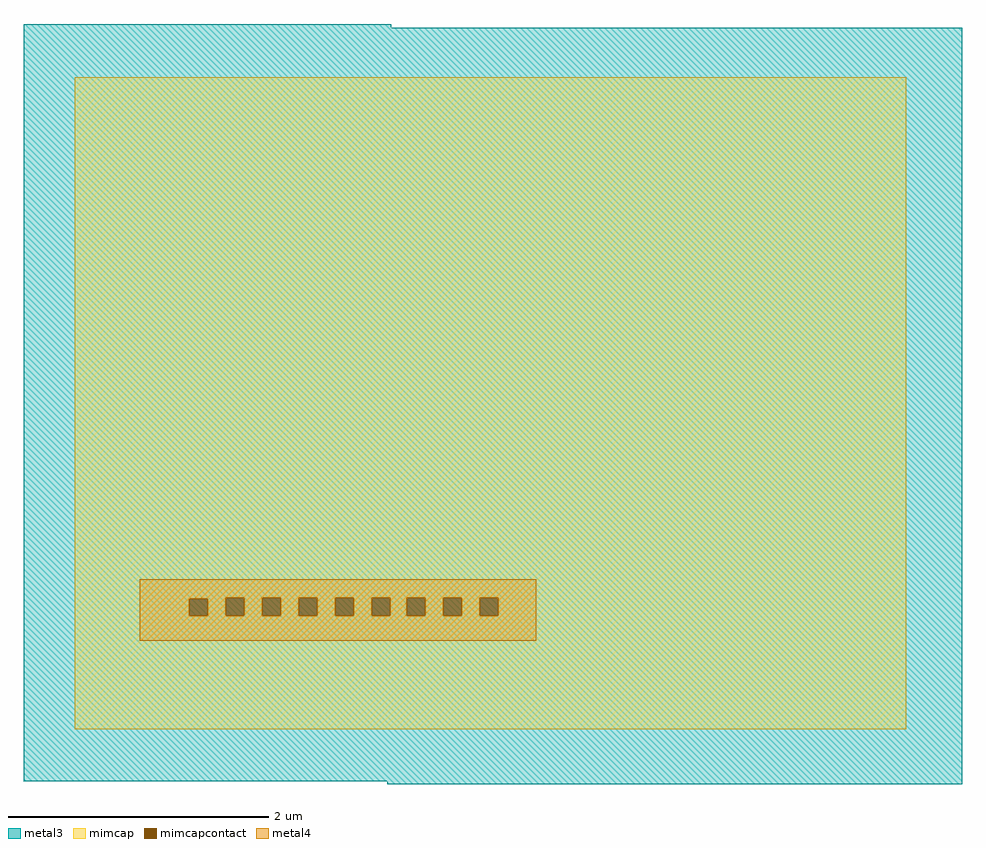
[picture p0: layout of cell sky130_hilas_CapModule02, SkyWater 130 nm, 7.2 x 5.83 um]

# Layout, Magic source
magic
tech sky130A
<< metal3 >>
rect 0 580 282 583
rect 0 2 720 580
rect 279 0 720 2
<< mimcap >>
rect 39 143 677 542
rect 39 142 155 143
rect 39 129 127 142
rect 141 129 155 142
rect 169 129 183 143
rect 197 129 211 143
rect 225 129 239 143
rect 253 129 267 143
rect 281 129 294 143
rect 308 129 322 143
rect 336 129 350 143
rect 364 129 677 143
rect 39 42 677 129
<< mimcapcontact >>
rect 127 129 141 142
rect 155 129 169 143
rect 183 129 197 143
rect 211 129 225 143
rect 239 129 253 143
rect 267 129 281 143
rect 294 129 308 143
rect 322 129 336 143
rect 350 129 364 143
<< metal4 >>
rect 89 143 393 157
rect 89 142 155 143
rect 89 129 127 142
rect 141 129 155 142
rect 169 129 183 143
rect 197 129 211 143
rect 225 129 239 143
rect 253 129 267 143
rect 281 129 294 143
rect 308 129 322 143
rect 336 129 350 143
rect 364 129 393 143
rect 89 110 393 129
<< properties >>
string LEFsite unithd
string LEFclass CORE
string LEFsymmetry X Y R90
<< end >>
